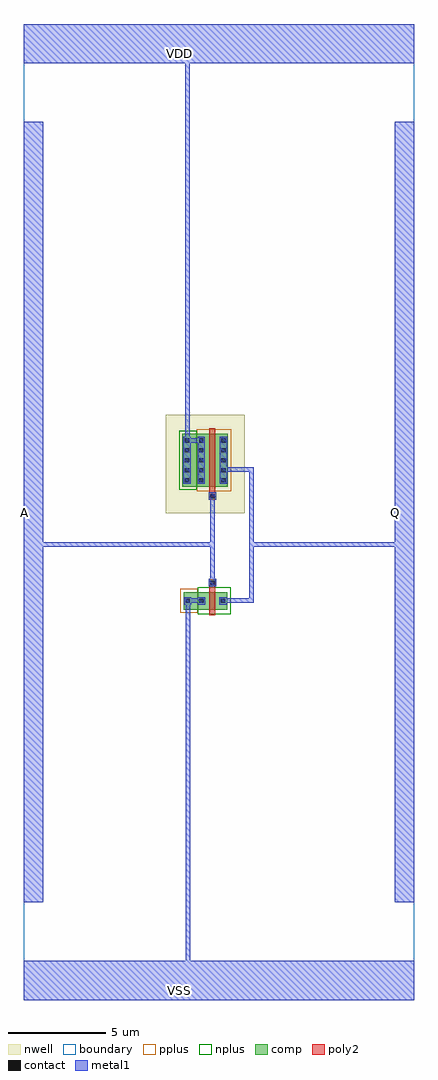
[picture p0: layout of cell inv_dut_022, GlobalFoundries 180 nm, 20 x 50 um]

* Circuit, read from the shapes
.subckt inv_dut_022 A Q VDD VSS
XM1 Q A VSS VSS nfet_03v3 w=0.9u l=0.3u
XM2 Q A VDD VDD pfet_03v3 w=2.7u l=0.3u
.ends

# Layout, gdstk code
from math import pi, radians
import gdstk
lib = gdstk.Library(unit=1e-6, precision=1e-09)
def R(c, l, rs):  # rectangles x0, y0, x1, y1
    for r in rs: c.add(gdstk.rectangle(r[:2], r[2:], *l))
def A(c, l, x, y, w, h, nx, ny, dx, dy):  # array of equal rectangles
    R(c, l, [(x+i*dx, y+j*dy, x+i*dx+w, y+j*dy+h) for i in range(nx) for j in range(ny)])
def P(c, l, *ps):  # polygons
    for p in ps: c.add(gdstk.Polygon(p, *l))
boundary = (0, 0)
nwell = (21, 0)
comp = (22, 0)
poly2 = (30, 0)
pplus = (31, 0)
nplus = (32, 0)
contact = (33, 0)
metal1 = (34, 0)

pfet = lib.new_cell('pfet')
R(pfet, nwell, [(-1.32,-0.99,2.73,4.07)])
R(pfet, comp, [(-0.46,0,1.87,2.7)])
P(pfet, poly2, [(0.19,-0.3),(0.19,3),(0.15,3),(0.15,3.38),(0.53,3.38),(0.53,3),(0.49,3),(0.49,-0.3)])
R(pfet, pplus, [(-0.63,-0.24,1.14,2.94)])
R(pfet, nplus, [(1.14,-0.17,2.04,2.87)])
A(pfet, contact, -0.34, 0.22, 0.22, 0.22, 1, 5, 0, 0.51)
A(pfet, contact, 0.8, 0.22, 0.22, 0.22, 1, 5, 0, 0.51)
A(pfet, contact, 1.53, 0.22, 0.22, 0.22, 1, 5, 0, 0.51)
R(pfet, contact, [(0.23,3.08,0.45,3.3)])
R(pfet, metal1, [(-0.42,0.14,-0.04,2.56), (0.72,0.14,1.1,2.56), (1.45,0.14,1.83,2.56), (0.15,3,0.53,3.38)])

nfet = lib.new_cell('nfet')
R(nfet, comp, [(-0.42,0,1.81,0.9)])
P(nfet, poly2, [(0.19,-0.3),(0.19,1.2),(0.16,1.2),(0.16,1.56),(0.52,1.56),(0.52,1.2),(0.49,1.2),(0.49,-0.3)])
R(nfet, pplus, [(1.1,-0.17,1.98,1.07)])
R(nfet, nplus, [(-0.59,-0.24,1.1,1.14)])
R(nfet, contact, [(-0.32,0.34,-0.1,0.56), (0.78,0.34,1,0.56), (1.49,0.34,1.71,0.56), (0.23,1.27,0.45,1.49)])
R(nfet, metal1, [(-0.4,0.26,-0.02,0.64), (0.7,0.26,1.08,0.64), (1.41,0.26,1.79,0.64), (0.15,1.19,0.53,1.57)])

inv_dut_022 = lib.new_cell('inv_dut_022')
R(inv_dut_022, boundary, [(-10,-25,10,25)])
R(inv_dut_022, metal1, [(-10,-25,10,-23), (-10,-20,-9,20), (9,-20,10,20), (-10,23,10,25)])
inv_dut_022.add(gdstk.FlexPath([(-0.345,0.8),(-0.345,-3.685),(-0.215,-3.685)], 0.23, ends="flush", simple_path=True, layer=34, datatype=0))  # metal1
inv_dut_022.add(gdstk.FlexPath([(-0.33,-1.66),(-9.19,-1.66)], 0.23, ends="flush", simple_path=True, layer=34, datatype=0))  # metal1
inv_dut_022.add(gdstk.FlexPath([(0.27,2.17),(1.66,2.17),(1.66,-4.53),(0.215,-4.53)], 0.23, ends="flush", simple_path=True, layer=34, datatype=0))  # metal1
inv_dut_022.add(gdstk.FlexPath([(1.66,-1.67),(9.175,-1.67)], 0.23, ends="flush", simple_path=True, layer=34, datatype=0))  # metal1
inv_dut_022.add(gdstk.FlexPath([(-0.905,3.67),(-1.62,3.67),(-1.62,23.11)], 0.23, ends="flush", simple_path=True, layer=34, datatype=0))  # metal1
inv_dut_022.add(gdstk.FlexPath([(-0.915,-4.545),(-1.59,-4.545),(-1.59,-23.305),(-1.59,-23.305)], 0.23, ends="flush", simple_path=True, layer=34, datatype=0))  # metal1
inv_dut_022.add(gdstk.Reference(pfet, (0,4), rotation=pi))
inv_dut_022.add(gdstk.Reference(nfet, (0,-5), rotation=pi, x_reflection=True))
inv_dut_022.add(gdstk.Label('VDD', (-2,23.5), layer=34, texttype=10))
inv_dut_022.add(gdstk.Label('VSS', (-2,-24.5), layer=34, texttype=10))
inv_dut_022.add(gdstk.Label('A', (-9.97,0), layer=34, texttype=10))
inv_dut_022.add(gdstk.Label('Q', (9.03,0), layer=34, texttype=10))

lib.write_gds('inv_dut_022.gds')
